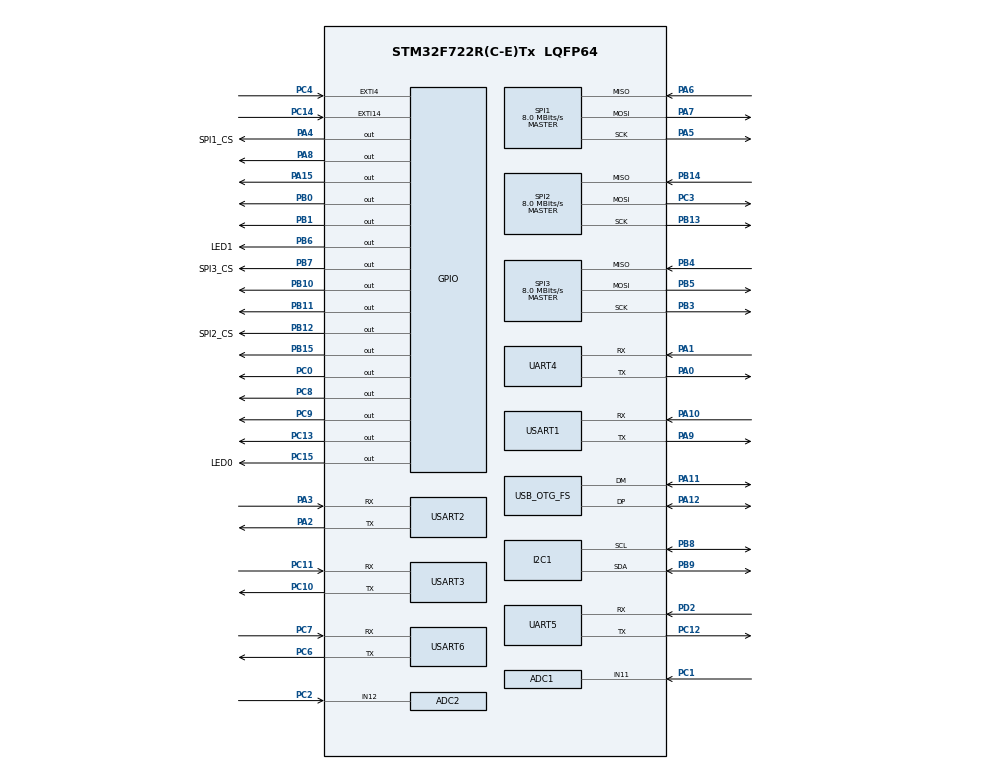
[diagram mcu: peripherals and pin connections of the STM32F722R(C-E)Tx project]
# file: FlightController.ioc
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ADC1.Channel-0\#ChannelRegularConversion=ADC_CHANNEL_11
ADC1.NbrOfConversionFlag=1
ADC1.master=1
ADC2.Channel-0\#ChannelRegularConversion=ADC_CHANNEL_12
ADC2.NbrOfConversionFlag=1
ADC2.Rank-0\#ChannelRegularConversion=1
ADC2.SamplingTime-0\#ChannelRegularConversion=ADC_SAMPLETIME_3CYCLES
Mcu.Family=STM32F7
Mcu.Name=STM32F722R(C-E)Tx
Mcu.Package=LQFP64
NVIC.OTG_FS_IRQn=true\:0\:0\:false\:false\:true\:false\:true\:true
NVIC.PriorityGroup=NVIC_PRIORITYGROUP_4
PA0-WKUP.Mode=Asynchronous
PA0-WKUP.Signal=UART4_TX
PA1.Mode=Asynchronous
PA1.Signal=UART4_RX
PA10.Mode=Asynchronous
PA10.Signal=USART1_RX
PA11.GPIO_Mode=GPIO_MODE_AF_PP
PA11.GPIO_PuPd=GPIO_NOPULL
PA11.GPIO_Speed=GPIO_SPEED_FREQ_VERY_HIGH
PA11.Mode=Device_Only
PA11.Signal=USB_OTG_FS_DM
PA12.GPIO_Mode=GPIO_MODE_AF_PP
PA12.GPIO_PuPd=GPIO_NOPULL
PA12.GPIO_Speed=GPIO_SPEED_FREQ_VERY_HIGH
PA12.Mode=Device_Only
PA12.Signal=USB_OTG_FS_DP
PA13.Mode=Serial_Wire
PA13.Signal=SYS_JTMS-SWDIO
PA14.Mode=Serial_Wire
PA14.Signal=SYS_JTCK-SWCLK
PA15.Signal=GPIO_Output
PA2.Mode=Asynchronous
PA2.Signal=USART2_TX
PA3.Mode=Asynchronous
PA3.Signal=USART2_RX
PA4.GPIO_Label=SPI1_CS
PA4.GPIO_PuPd=GPIO_PULLUP
PA4.PinState=GPIO_PIN_SET
PA4.Signal=GPIO_Output
PA5.Mode=Full_Duplex_Master
PA5.Signal=SPI1_SCK
PA6.Mode=Full_Duplex_Master
PA6.Signal=SPI1_MISO
PA7.Mode=Full_Duplex_Master
PA7.Signal=SPI1_MOSI
PA8.Signal=GPIO_Output
PA9.Mode=Asynchronous
PA9.Signal=USART1_TX
PB0.Signal=GPIO_Output
PB1.Signal=GPIO_Output
PB10.Signal=GPIO_Output
PB11.Signal=GPIO_Output
PB12.GPIO_Label=SPI2_CS
PB12.GPIO_PuPd=GPIO_PULLUP
PB12.PinState=GPIO_PIN_SET
PB12.Signal=GPIO_Output
PB13.Mode=Full_Duplex_Master
PB13.Signal=SPI2_SCK
PB14.Mode=Full_Duplex_Master
PB14.Signal=SPI2_MISO
PB15.Signal=GPIO_Output
PB3.Mode=Full_Duplex_Master
PB3.Signal=SPI3_SCK
PB4.Mode=Full_Duplex_Master
PB4.Signal=SPI3_MISO
PB5.Mode=Full_Duplex_Master
PB5.Signal=SPI3_MOSI
PB6.GPIO_Label=LED1
PB6.Signal=GPIO_Output
PB7.GPIO_Label=SPI3_CS
PB7.PinState=GPIO_PIN_SET
PB7.Signal=GPIO_Output
PB8.Mode=I2C
PB8.Signal=I2C1_SCL
PB9.Mode=I2C
PB9.Signal=I2C1_SDA
PC0.Signal=GPIO_Output
PC1.Signal=ADCx_IN11
PC10.Mode=Asynchronous
PC10.Signal=USART3_TX
PC11.Mode=Asynchronous
PC11.Signal=USART3_RX
PC12.Mode=Asynchronous
PC12.Signal=UART5_TX
PC13.Signal=GPIO_Output
PC14-OSC32_IN.Signal=GPXTI14
PC15-OSC32_OUT.GPIO_Label=LED0
PC15-OSC32_OUT.Signal=GPIO_Output
PC2.Signal=ADCx_IN12
PC3.Mode=Full_Duplex_Master
PC3.Signal=SPI2_MOSI
PC4.Signal=GPXTI4
PC6.Mode=Asynchronous
PC6.Signal=USART6_TX
PC7.Mode=Asynchronous
PC7.Signal=USART6_RX
PC8.Signal=GPIO_Output
PC9.Signal=GPIO_Output
PD2.Mode=Asynchronous
PD2.Signal=UART5_RX
PH0-OSC_IN.Mode=HSE-External-Oscillator
PH0-OSC_IN.Signal=RCC_OSC_IN
PH1-OSC_OUT.Mode=HSE-External-Oscillator
PH1-OSC_OUT.Signal=RCC_OSC_OUT
ProjectManager.HeapSize=0x200
ProjectManager.StackSize=0x400
ProjectManager.TargetToolchain=STM32CubeIDE
RCC.HSE_VALUE=8000000
RCC.HSI_VALUE=16000000
RCC.LSE_VALUE=32768
RCC.PLLM=4
RCC.PLLN=96
RCC.PLLQ=4
RCC.USBFreq_Value=48000000
RCC.VCOOutputFreq_Value=192000000
SH.ADCx_IN11.0=ADC1_IN11,IN11
SH.ADCx_IN12.0=ADC2_IN12,IN12
SPI1.BaudRatePrescaler=SPI_BAUDRATEPRESCALER_2
SPI1.CalculateBaudRate=8.0 MBits/s
SPI1.DataSize=SPI_DATASIZE_8BIT
SPI1.Direction=SPI_DIRECTION_2LINES
SPI1.Mode=SPI_MODE_MASTER
SPI1.NSSPMode=SPI_NSS_PULSE_DISABLE
SPI1.VirtualType=VM_MASTER
SPI2.BaudRatePrescaler=SPI_BAUDRATEPRESCALER_2
SPI2.CalculateBaudRate=8.0 MBits/s
SPI2.DataSize=SPI_DATASIZE_8BIT
SPI2.Direction=SPI_DIRECTION_2LINES
SPI2.Mode=SPI_MODE_MASTER
SPI2.NSSPMode=SPI_NSS_PULSE_DISABLE
SPI2.VirtualType=VM_MASTER
SPI3.BaudRatePrescaler=SPI_BAUDRATEPRESCALER_2
SPI3.CalculateBaudRate=8.0 MBits/s
SPI3.DataSize=SPI_DATASIZE_8BIT
SPI3.Direction=SPI_DIRECTION_2LINES
SPI3.Mode=SPI_MODE_MASTER
SPI3.NSSPMode=SPI_NSS_PULSE_DISABLE
SPI3.VirtualType=VM_MASTER
USART1.VirtualMode-Asynchronous=VM_ASYNC
USART2.VirtualMode-Asynchronous=VM_ASYNC
USART3.VirtualMode-Asynchronous=VM_ASYNC
USART6.VirtualMode=VM_ASYNC
USB_DEVICE.CLASS_NAME_FS=CDC
USB_DEVICE.VirtualMode-CDC_FS=Cdc
USB_DEVICE.VirtualModeFS=Cdc_FS
USB_OTG_FS.VirtualMode=Device_Only
VP_FATFS_VS_Generic.Mode=User_defined
VP_USB_DEVICE_VS_USB_DEVICE_CDC_FS.Mode=CDC_FS
board=custom

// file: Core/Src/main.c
/* USER CODE BEGIN Header */
/**
  ******************************************************************************
  * @file           : main.c
  * @brief          : Main program body
  ******************************************************************************
  * @attention
  *
  * Copyright (c) 2023 STMicroelectronics.
  * All rights reserved.
  *
  * This software is licensed under terms that can be found in the LICENSE file
  * in the root directory of this software component.
  * If no LICENSE file comes with this software, it is provided AS-IS.
  *
  ******************************************************************************
  */
/* USER CODE END Header */
#include "main.h"
#include "fatfs.h"
#include "usb_device.h"

/* USER CODE BEGIN Includes */
#include "usbd_cdc_if.h"

#include <stdarg.h>
/* USER CODE END Includes */

ADC_HandleTypeDef hadc1;
ADC_HandleTypeDef hadc2;

I2C_HandleTypeDef hi2c1;

SPI_HandleTypeDef hspi1;
SPI_HandleTypeDef hspi2;
SPI_HandleTypeDef hspi3;

UART_HandleTypeDef huart4;
UART_HandleTypeDef huart5;
UART_HandleTypeDef huart1;
UART_HandleTypeDef huart2;
UART_HandleTypeDef huart3;
UART_HandleTypeDef huart6;

void SystemClock_Config(void);
static void MX_GPIO_Init(void);
static void MX_ADC1_Init(void);
static void MX_ADC2_Init(void);
static void MX_I2C1_Init(void);
static void MX_SPI1_Init(void);
static void MX_USART2_UART_Init(void);
static void MX_USART3_UART_Init(void);
static void MX_USART6_UART_Init(void);
static void MX_SPI2_Init(void);
static void MX_UART4_Init(void);
static void MX_UART5_Init(void);
static void MX_USART1_UART_Init(void);
static void MX_SPI3_Init(void);

/* USER CODE BEGIN 0 */

#include "bmp280.h"

void delay_ms(uint32_t period_ms);
int8_t i2c_reg_write(uint8_t i2c_addr, uint8_t reg_addr, uint8_t *reg_data, uint16_t length);
int8_t i2c_reg_read(uint8_t i2c_addr, uint8_t reg_addr, uint8_t *reg_data, uint16_t length);
int8_t spi_reg_write(uint8_t cs, uint8_t reg_addr, uint8_t *reg_data, uint16_t length);
int8_t spi_reg_read(uint8_t cs, uint8_t reg_addr, uint8_t *reg_data, uint16_t length);
void print_rslt(const char api_name[], int8_t rslt);

//static uint8_t BMP280_ADDR  = (0xF6);
static uint8_t BMP280_ID_REG  = (0x80 | 0xD0);
static uint8_t BMI270_ID_REG  = (0x80 | 0x00);

static const uint8_t TMP102_ADDR = 0x48 << 1;
static const uint8_t REG_TEMP = 0x0;

char spi_buf[32];

void usb_printf(const char *fmt, ...)
{
  static char buffer[256];
  va_list args;
  va_start(args, fmt);
  vsnprintf(buffer, sizeof(buffer), fmt, args);
  va_end(args);

  int len = strlen(buffer);

  CDC_Transmit_FS((uint8_t *)buffer, len);
}

// BMP280 is SPI1 in the schematic, but CubeIDE has pin33 marked as SPI2
// nope wrong, everything is SPI1, but they use SPI1_CS and SPI2_CS to select between BMP280 and BMI270
void SPI1_bmp280_read_id_register()
{
	char data[4] = {0};

	data[0] = BMP280_ID_REG;
	data[1] = BMP280_ID_REG;

  // Read ID register

	// Set chip select low
	HAL_GPIO_WritePin(SPI2_CS_GPIO_Port, SPI2_CS_Pin, GPIO_PIN_RESET);
	HAL_Delay(1);
	HAL_SPI_Transmit(&hspi1, (uint8_t *)&data[0], 1, 100);
	HAL_SPI_Receive(&hspi1, (uint8_t *)&spi_buf[0], 1, 100);
	HAL_Delay(1);
	HAL_GPIO_WritePin(SPI2_CS_GPIO_Port, SPI2_CS_Pin, GPIO_PIN_SET);

	// print out status register, should be 0x58
	usb_printf("BMP280 ID Reg: 0x%02X 0x%02X 0x%02X 0x%02X\r\n",
		  (unsigned int)spi_buf[0],
		  (unsigned int)spi_buf[1],
		  (unsigned int)spi_buf[2],
		  (unsigned int)spi_buf[3]);
}

static BYTE my_xchg_spi (
	BYTE dat	/* Data to send */
)
{
	BYTE rxDat;
    HAL_SPI_TransmitReceive(&hspi1, &dat, &rxDat, 1, 50);
    return rxDat;
}

void SPI1_bmp280_read_id_register_xchg()
{
	HAL_GPIO_WritePin(SPI2_CS_GPIO_Port, SPI2_CS_Pin, GPIO_PIN_RESET);
	HAL_Delay(1);
	spi_buf[0] = my_xchg_spi(0x80 | 0xD0);				/* Start + command index */
	spi_buf[0] = my_xchg_spi(0x80 | 0xD0);				/* Start + command index */
	HAL_Delay(1);
	HAL_GPIO_WritePin(SPI2_CS_GPIO_Port, SPI2_CS_Pin, GPIO_PIN_SET);

	usb_printf("BMP280 xchg Reg: 0x%02X 0x%02X 0x%02X 0x%02X\r\n",
		  (unsigned int)spi_buf[0],
		  (unsigned int)spi_buf[1],
		  (unsigned int)spi_buf[2],
		  (unsigned int)spi_buf[3]);

}

void SPI1_bmi270_read_id_register_xchg()
{
	HAL_GPIO_WritePin(SPI1_CS_GPIO_Port, SPI1_CS_Pin, GPIO_PIN_RESET);
	HAL_Delay(1);
	spi_buf[0] = my_xchg_spi(0x80 | 0x0);				/* Start + command index */
	spi_buf[0] = my_xchg_spi(0x80 | 0x0);				/* Start + command index */
	HAL_Delay(1);
	HAL_GPIO_WritePin(SPI1_CS_GPIO_Port, SPI1_CS_Pin, GPIO_PIN_SET);

	usb_printf("BMI270 xchg Reg: 0x%02X 0x%02X 0x%02X 0x%02X\r\n",
		  (unsigned int)spi_buf[0],
		  (unsigned int)spi_buf[1],
		  (unsigned int)spi_buf[2],
		  (unsigned int)spi_buf[3]);

}

// Note: have to do this twice as the first time it just enables the interface from i2c to spi
void SPI1_bmi270_read_id_register()
{
	char data[4] = {0};

	data[0] = BMI270_ID_REG; // dummy value
	data[1] = BMI270_ID_REG; // actual used value

// Read ID register

	// Set chip select low
	HAL_GPIO_WritePin(SPI1_CS_GPIO_Port, SPI1_CS_Pin, GPIO_PIN_RESET);
	HAL_Delay(1);
	HAL_SPI_Transmit(&hspi1, (uint8_t *)&data[0], 1, 100);
	HAL_SPI_Receive(&hspi1, (uint8_t *)&spi_buf[0], 1, 100);

//	HAL_StatusTypeDef ret = HAL_SPI_TransmitReceive(&hspi1, (uint8_t *)&data[0], (uint8_t *)&spi_buf[0], 2, 100);
//	if (ret != HAL_OK)
//	{
//		usb_printf("HAL_SPI_TransmitReceive failed %d\n", ret);
//	}
	HAL_Delay(1);
	HAL_GPIO_WritePin(SPI1_CS_GPIO_Port, SPI1_CS_Pin, GPIO_PIN_SET);
//	HAL_GPIO_WritePin(SPI2_CS_GPIO_Port, SPI2_CS_Pin, GPIO_PIN_SET);

	// print out status register, should be 0x24
	usb_printf("BMI270 ID Reg: 0x%02X 0x%02X 0x%02X 0x%02X\r\n",
		  (unsigned int)spi_buf[0],
		  (unsigned int)spi_buf[1],
		  (unsigned int)spi_buf[2],
		  (unsigned int)spi_buf[3]);
}

void SPI3_sdcard_read_id_register()
{
	char data[4] = {0};

	data[0] = BMI270_ID_REG; // dummy value
	data[1] = BMI270_ID_REG; // actual register

// Read ID register

	// Set chip select low
	HAL_GPIO_WritePin(SPI3_CS_GPIO_Port, SPI3_CS_Pin, GPIO_PIN_RESET);
	HAL_SPI_Transmit(&hspi3, (uint8_t *)&data[0], 2, HAL_MAX_DELAY);
	HAL_SPI_Receive(&hspi3, (uint8_t *)&spi_buf[0], 4, HAL_MAX_DELAY);
	HAL_GPIO_WritePin(SPI3_CS_GPIO_Port, SPI3_CS_Pin, GPIO_PIN_SET);

	// print out status register, should be 0x24
	usb_printf("SDCARD ID Reg: 0x%02X 0x%02X 0x%02X 0x%02X\r\n",
		  (unsigned int)spi_buf[0],
		  (unsigned int)spi_buf[1],
		  (unsigned int)spi_buf[2],
		  (unsigned int)spi_buf[3]);

}

// this is uses SPI1, but uses the MAX_Chip select, which is shared with SPI bus 2
void SPI2_max_analog_read_id_register()
{
//	char data[4] = {0};

//	data[0] = BMI270_ID_REG; // dummy
//	data[1] = BMI270_ID_REG; // actual register read

// Read ID register

	// Set chip select low
	// need to solder this chip on really
	/*
	HAL_GPIO_WritePin(SPI1_CS_GPIO_Port, SPI1_CS_Pin, GPIO_PIN_RESET);
	HAL_GPIO_WritePin(SPI2_CS_GPIO_Port, SPI2_CS_Pin, GPIO_PIN_RESET);
	HAL_SPI_Transmit(&hspi1, (uint8_t *)&data[0], 1, HAL_MAX_DELAY);
	HAL_SPI_Receive(&hspi1, (uint8_t *)&spi_buf[0], 4, HAL_MAX_DELAY);
	HAL_GPIO_WritePin(SPI1_CS_GPIO_Port, SPI1_CS_Pin, GPIO_PIN_SET);
	HAL_GPIO_WritePin(SPI2_CS_GPIO_Port, SPI2_CS_Pin, GPIO_PIN_SET);

	// print out status register, should be 0x24
	usb_printf("MAX Analog ID Reg: 0x%02X 0x%02X 0x%02X 0x%02X\r\n",
		  (unsigned int)spi_buf[0],
		  (unsigned int)spi_buf[1],
		  (unsigned int)spi_buf[2],
		  (unsigned int)spi_buf[3]);
		  */
}

int test_bmp280(void)
{
    int8_t rslt;
    struct bmp280_dev bmp;

    /* Map the delay function pointer with the function responsible for implementing the delay */
    bmp.delay_ms = delay_ms;

    bmp.dev_id = 0;
    bmp.read = spi_reg_read;
    bmp.write = spi_reg_write;
    bmp.intf = BMP280_SPI_INTF;
    rslt = bmp280_init(&bmp);
    print_rslt(" bmp280_init status", rslt);

    struct bmp280_uncomp_data data;

    bmp280_get_uncomp_data(&data, &bmp);

	usb_printf("BMP280 API : %u temp %u pressureX\r\n",
		  (unsigned int)data.uncomp_temp,
		  (unsigned int)data.uncomp_press);
    return 0;
}

void delay_ms(uint32_t period_ms)
{
	HAL_Delay(period_ms);
}

int8_t spi_reg_write(uint8_t cs, uint8_t reg_addr, uint8_t *reg_data, uint16_t length)
{
	HAL_GPIO_WritePin(SPI2_CS_GPIO_Port, SPI2_CS_Pin, GPIO_PIN_RESET);
	HAL_Delay(1);
	HAL_SPI_Transmit(&hspi1, (uint8_t *)&reg_addr, 1, 100);
	HAL_SPI_Transmit(&hspi1, (uint8_t *)reg_data, length, 100);
	HAL_Delay(1);
	HAL_GPIO_WritePin(SPI2_CS_GPIO_Port, SPI2_CS_Pin, GPIO_PIN_SET);

    return 0;
}

int8_t spi_reg_read(uint8_t cs, uint8_t reg_addr, uint8_t *reg_data, uint16_t length)
{
	HAL_GPIO_WritePin(SPI2_CS_GPIO_Port, SPI2_CS_Pin, GPIO_PIN_RESET);
	HAL_Delay(1);
	HAL_SPI_Transmit(&hspi1, (uint8_t *)&reg_addr, 1, 100);
	HAL_SPI_Receive(&hspi1, (uint8_t *)reg_data, length, 100);
	HAL_Delay(1);
	HAL_GPIO_WritePin(SPI2_CS_GPIO_Port, SPI2_CS_Pin, GPIO_PIN_SET);
    return 0;
}

void print_rslt(const char api_name[], int8_t rslt)
{
    if (rslt != BMP280_OK)
    {
    	usb_printf("%s\t", api_name);
        if (rslt == BMP280_E_NULL_PTR)
        {
        	usb_printf("Error [%d] : Null pointer error\r\n", (int)rslt);
        }
        else if (rslt == BMP280_E_COMM_FAIL)
        {
        	usb_printf("Error [%d] : Bus communication failed\r\n", (int)rslt);
        }
        else if (rslt == BMP280_E_IMPLAUS_TEMP)
        {
        	usb_printf("Error [%d] : Invalid Temperature\r\n", (int)rslt);
        }
        else if (rslt == BMP280_E_DEV_NOT_FOUND)
        {
        	usb_printf("Error [%d] : Device not found\r\n", (int)rslt);
        }
        else
        {
            /* For more error codes refer "*_defs.h" */
        	usb_printf("Error [%d] : Unknown error code\r\n", (int)rslt);
        }
    }
}

void read_tmp102()
{
	HAL_StatusTypeDef ret;
	char buf[32];
	int16_t val;
	float temp_c;

	strcpy(buf, "Hello!\r\n");
	HAL_UART_Transmit(&huart2, (uint8_t *)buf, strlen(buf), HAL_MAX_DELAY);

	buf[0] = REG_TEMP;
	ret = HAL_I2C_Master_Transmit(&hi2c1, TMP102_ADDR, (uint8_t *)buf, 1, HAL_MAX_DELAY);
	if ( ret != HAL_OK)
	{
		strcpy(buf, "i2c tx error\r\n");
	}
	else
	{
		ret = HAL_I2C_Master_Receive(&hi2c1, TMP102_ADDR, (uint8_t *)buf, 2, HAL_MAX_DELAY);
		if ( ret != HAL_OK)
		{
			strcpy(buf, "i2c rx error\r\n");
		}

		val = ( (int16_t)buf[0] << 4 | (buf[1] >> 4) );
		if (val > 0x7FF )
		{
			val |= 0xF000;
		}

		temp_c = val * 0.0625;
		temp_c *= 100;

		sprintf(buf, "%u.%02u C\r\n",
			((unsigned int)temp_c / 100),
			((unsigned int)temp_c % 100));
	}

	HAL_UART_Transmit(&huart2, (uint8_t *)buf, strlen(buf), HAL_MAX_DELAY);
}

// https://01001000.xyz/2020-08-09-Tutorial-STM32CubeIDE-SD-card/
void test_sdcard()
{
	  HAL_Delay(1000); //a short delay is important to let the SD card settle

	  FATFS FatFs; 	//Fatfs handle
	  FIL fil; 		//File handle
	  FRESULT fres; //Result after operations

	  //Open the file system
	  fres = f_mount(&FatFs, "", 1); //1=mount now

	  if (fres != FR_OK)
	  {
		  usb_printf("f_mount error (%i)\r\n", fres);
		  return;
	  }

	  //Let's get some statistics from the SD card
	  DWORD free_clusters, free_sectors, total_sectors;

	  FATFS* getFreeFs;

	  fres = f_getfree("", &free_clusters, &getFreeFs);
	  if (fres != FR_OK)
	  {
		  usb_printf("f_getfree error (%i)\r\n", fres);
		  return;
	  }

	  //Formula comes from ChaN's documentation
	  total_sectors = (getFreeFs->n_fatent - 2) * getFreeFs->csize;
	  free_sectors = free_clusters * getFreeFs->csize;

	  usb_printf("SD card stats:\r\n%10lu KiB total drive space.\r\n%10lu KiB available.\r\n", total_sectors / 2, free_sectors / 2);

	  //Now let's try to open file "test.txt"
	  fres = f_open(&fil, "test.txt", FA_READ);

	  if (fres != FR_OK)
	  {
		usb_printf("f_open error (%i)\r\n");
		return;
	  }

	  usb_printf("I was able to open 'test.txt' for reading!\r\n");

	  //Read 30 bytes from "test.txt" on the SD card
	  BYTE readBuf[30] = {0};

	  //We can either use f_read OR f_gets to get data out of files
	  //f_gets is a wrapper on f_read that does some string formatting for us
	  TCHAR* rres = f_gets((TCHAR*)readBuf, 30, &fil);

	  if(rres != 0)
	  {
		  usb_printf("Read string from 'test.txt' contents: %s\r\n", readBuf);
	  }
	  else
	  {
		  usb_printf("f_gets error (%i)\r\n", fres);
	  }

	  //Be a tidy kiwi - don't forget to close your file!
	  f_close(&fil);

	  //Now let's try and write a file "write.txt"
	  fres = f_open(&fil, "write.txt", FA_WRITE | FA_OPEN_ALWAYS | FA_CREATE_ALWAYS);

	  if(fres == FR_OK)
	  {
		  usb_printf("I was able to open 'write.txt' for writing\r\n");
	  }
	  else
	  {
		  usb_printf("f_open error (%i)\r\n", fres);
	  }

	  //Copy in a string
	  strncpy((char*)readBuf, "a new file is made!", 20);
	  UINT bytesWrote;
	  fres = f_write(&fil, readBuf, 19, &bytesWrote);

	  if(fres == FR_OK)
	  {
		  usb_printf("Wrote %i bytes to 'write.txt'!\r\n", bytesWrote);
	  }
	  else
	  {
		  usb_printf("f_write error (%i)\r\n");
	  }

	  //Be a tidy kiwi - don't forget to close your file!
	  f_close(&fil);

	  //We're done, so de-mount the drive
	  f_mount(NULL, "", 0);
}

int test_enable = 0;

#define	MCU_IRQS	70u

void start_bootloader()
{
	void (*boot_jump)(void);

	boot_jump = (void (*)(void))(*((uint32_t *)(0x1FFF0000 + 4)));

	HAL_RCC_DeInit();
	SysTick->CTRL = 0;
	SysTick->LOAD = 0;
	SysTick->VAL = 0;
	__disable_irq();
	SYSCFG->MEMRMP = 0x01;

	__set_MSP(*(uint32_t *)0x1FFF0000);

	boot_jump();

/*

	void (*boot_jump)(void);

	boot_jump = (void (*)(void))(*((uint32_t *)(0x1FFF0000 + 4)));

	HAL_DeInit();
	__set_MSP(*(__IO uint32_t*)0x1FFF0000);

	__disable_irq();

	SysTick->CTRL = 0;

	HAL_RCC_DeInit();
	for (uint8_t i = 0; i < (MCU_IRQS + 31u) / 32; i++)
	{
		NVIC->ICER[i]=0xFFFFFFFF;
		NVIC->ICPR[i]=0xFFFFFFFF;
	}

	__enable_irq();

	*((unsigned long *)0x2004FFF0) = 0xDEADBEEF; // 320KB STM32F7xx
	__DSB();

	boot_jump();
	*/
}

/* USER CODE END 0 */

int main(void)
{

  /* MCU Configuration--------------------------------------------------------*/

  /* Reset of all peripherals, Initializes the Flash interface and the Systick. */
  HAL_Init();

  /* Configure the system clock */
  SystemClock_Config();

  /* Initialize all configured peripherals */
  MX_GPIO_Init();
  MX_USB_DEVICE_Init();
  MX_ADC1_Init();
  MX_ADC2_Init();
  MX_I2C1_Init();
  MX_SPI1_Init();
  MX_USART2_UART_Init();
  MX_USART3_UART_Init();
  MX_USART6_UART_Init();
  MX_SPI2_Init();
  MX_UART4_Init();
  MX_UART5_Init();
  MX_USART1_UART_Init();
  MX_SPI3_Init();
  MX_FATFS_Init();
  /* USER CODE BEGIN 2 */

  __enable_irq();

  HAL_GPIO_TogglePin (LED1_GPIO_Port, LED1_Pin);

  // CS pin should be default high
	HAL_GPIO_WritePin(SPI1_CS_GPIO_Port, SPI1_CS_Pin, GPIO_PIN_SET);
	HAL_GPIO_WritePin(SPI2_CS_GPIO_Port, SPI2_CS_Pin, GPIO_PIN_SET);
	HAL_GPIO_WritePin(SPI3_CS_GPIO_Port, SPI3_CS_Pin, GPIO_PIN_SET);

  // Print something (probably will be too fast to connect and see?)
  usb_printf("STM32F7 main()\r\n");

//  SPI1_bmi270_read_id_register();

  test_bmp280();

  SPI1_bmp280_read_id_register();

  SPI1_bmi270_read_id_register();

  /* USER CODE END 2 */

  /* Infinite loop */
  /* USER CODE BEGIN WHILE */
  while (1)
  {
  	  if (test_enable)
	  {

		  if (test_enable == '`')
		  {
			  start_bootloader();
		  }

		  if (test_enable == '1')
		  {
			  test_sdcard();
		  }

		  if (test_enable == '2')
		  {
			  SPI1_bmp280_read_id_register();
		  }

		  if (test_enable == '3')
		  {
			  SPI1_bmi270_read_id_register();
		  }

		  if (test_enable == '4')
		  {
			  SPI1_bmi270_read_id_register_xchg();
		  }

		  if (test_enable == '5')
		  {
			  test_bmp280();
		  }

		  if (test_enable == '6')
		  {
			  SPI1_bmp280_read_id_register_xchg();
		  }

		  if (test_enable == '7')
		  {
			  static int init = 0;

			  if (init == 0)
			  {

//				  TMP117_Initialization(hi2c1);

				  uint16_t id = -1;

//				  id = TMP117_get_ID_Register(hi2c1);

			      static uint8_t sbuf[3] = { 0 };
			      static uint8_t rbuf[3] = { 0 };
			      sbuf[0] = 0x0F;

			      uint16_t addr = 0x48<<1;

			      HAL_I2C_Master_Transmit(&hi2c1, addr, sbuf, 1, HAL_MAX_DELAY);
			      HAL_Delay(1);
			      HAL_I2C_Master_Receive(&hi2c1, addr, rbuf, 2, HAL_MAX_DELAY);
			      id = ((rbuf[0]<<8)|rbuf[1]);

				  if (id == 0x0117)
				  {
					  usb_printf("tmp117 init pass\r\n");
					  init = 1;

				  }
				  else
				  {
					  usb_printf("tmp117 init fail returned %X [%X, %X]\r\n", (int)id, rbuf[0], rbuf[1]);
				  }

			  }

		      static uint8_t sbuf[3] = {0};
		      static uint8_t rbuf[3] = {0};
		      uint16_t addr = 0x48<<1;

		      sbuf[0] = 0x0;

		      HAL_I2C_Master_Transmit(&hi2c1, addr, sbuf, 1, HAL_MAX_DELAY);
		      HAL_Delay(1);
		      HAL_I2C_Master_Receive(&hi2c1, addr, rbuf, 2, HAL_MAX_DELAY);

		      float temp =  ( (rbuf[0] << 8) | rbuf[1] ) * 0.0078125;

		      int top = temp;

		      usb_printf("Tmp117 Temp %d [%X, %X]\r\n", top, rbuf[0], rbuf[1]);

		  }

		  test_enable = 0;
	  }

	  // blink leds
	  HAL_GPIO_TogglePin (LED0_GPIO_Port, LED0_Pin);
	  HAL_Delay (100);   /* Insert delay 100 ms */
	  HAL_GPIO_TogglePin (LED1_GPIO_Port, LED1_Pin);
	  HAL_Delay (100);   /* Insert delay 100 ms */

    /* USER CODE END WHILE */

  }
}

void SystemClock_Config(void)
{
  RCC_OscInitTypeDef RCC_OscInitStruct = {0};
  RCC_ClkInitTypeDef RCC_ClkInitStruct = {0};

  /** Configure the main internal regulator output voltage
  */
  __HAL_RCC_PWR_CLK_ENABLE();
  __HAL_PWR_VOLTAGESCALING_CONFIG(PWR_REGULATOR_VOLTAGE_SCALE3);

  /** Initializes the RCC Oscillators according to the specified parameters
  * in the RCC_OscInitTypeDef structure.
  */
  RCC_OscInitStruct.OscillatorType = RCC_OSCILLATORTYPE_HSI|RCC_OSCILLATORTYPE_HSE;
  RCC_OscInitStruct.HSEState = RCC_HSE_ON;
  RCC_OscInitStruct.HSIState = RCC_HSI_ON;
  RCC_OscInitStruct.HSICalibrationValue = RCC_HSICALIBRATION_DEFAULT;
  RCC_OscInitStruct.PLL.PLLState = RCC_PLL_ON;
  RCC_OscInitStruct.PLL.PLLSource = RCC_PLLSOURCE_HSE;
  RCC_OscInitStruct.PLL.PLLM = 4;
  RCC_OscInitStruct.PLL.PLLN = 96;
  RCC_OscInitStruct.PLL.PLLP = RCC_PLLP_DIV2;
  RCC_OscInitStruct.PLL.PLLQ = 4;
  if (HAL_RCC_OscConfig(&RCC_OscInitStruct) != HAL_OK)
  {
    Error_Handler();
  }

  /** Initializes the CPU, AHB and APB buses clocks
  */
  RCC_ClkInitStruct.ClockType = RCC_CLOCKTYPE_HCLK|RCC_CLOCKTYPE_SYSCLK
                              |RCC_CLOCKTYPE_PCLK1|RCC_CLOCKTYPE_PCLK2;
  RCC_ClkInitStruct.SYSCLKSource = RCC_SYSCLKSOURCE_HSI;
  RCC_ClkInitStruct.AHBCLKDivider = RCC_SYSCLK_DIV1;
  RCC_ClkInitStruct.APB1CLKDivider = RCC_HCLK_DIV1;
  RCC_ClkInitStruct.APB2CLKDivider = RCC_HCLK_DIV1;

  if (HAL_RCC_ClockConfig(&RCC_ClkInitStruct, FLASH_LATENCY_0) != HAL_OK)
  {
    Error_Handler();
  }
}

static void MX_ADC1_Init(void)
{

  ADC_ChannelConfTypeDef sConfig = {0};

  /** Configure the global features of the ADC (Clock, Resolution, Data Alignment and number of conversion)
  */
  hadc1.Instance = ADC1;
  hadc1.Init.ClockPrescaler = ADC_CLOCK_SYNC_PCLK_DIV2;
  hadc1.Init.Resolution = ADC_RESOLUTION_12B;
  hadc1.Init.ScanConvMode = ADC_SCAN_DISABLE;
  hadc1.Init.ContinuousConvMode = DISABLE;
  hadc1.Init.DiscontinuousConvMode = DISABLE;
  hadc1.Init.ExternalTrigConvEdge = ADC_EXTERNALTRIGCONVEDGE_NONE;
  hadc1.Init.ExternalTrigConv = ADC_SOFTWARE_START;
  hadc1.Init.DataAlign = ADC_DATAALIGN_RIGHT;
  hadc1.Init.NbrOfConversion = 1;
  hadc1.Init.DMAContinuousRequests = DISABLE;
  hadc1.Init.EOCSelection = ADC_EOC_SINGLE_CONV;
  if (HAL_ADC_Init(&hadc1) != HAL_OK)
  {
    Error_Handler();
  }

  /** Configure for the selected ADC regular channel its corresponding rank in the sequencer and its sample time.
  */
  sConfig.Channel = ADC_CHANNEL_11;
  sConfig.Rank = ADC_REGULAR_RANK_1;
  sConfig.SamplingTime = ADC_SAMPLETIME_3CYCLES;
  if (HAL_ADC_ConfigChannel(&hadc1, &sConfig) != HAL_OK)
  {
    Error_Handler();
  }

}

static void MX_ADC2_Init(void)
{

  ADC_ChannelConfTypeDef sConfig = {0};

  /** Configure the global features of the ADC (Clock, Resolution, Data Alignment and number of conversion)
  */
  hadc2.Instance = ADC2;
  hadc2.Init.ClockPrescaler = ADC_CLOCK_SYNC_PCLK_DIV2;
  hadc2.Init.Resolution = ADC_RESOLUTION_12B;
  hadc2.Init.ScanConvMode = ADC_SCAN_DISABLE;
  hadc2.Init.ContinuousConvMode = DISABLE;
  hadc2.Init.DiscontinuousConvMode = DISABLE;
  hadc2.Init.ExternalTrigConvEdge = ADC_EXTERNALTRIGCONVEDGE_NONE;
  hadc2.Init.ExternalTrigConv = ADC_SOFTWARE_START;
  hadc2.Init.DataAlign = ADC_DATAALIGN_RIGHT;
  hadc2.Init.NbrOfConversion = 1;
  hadc2.Init.DMAContinuousRequests = DISABLE;
  hadc2.Init.EOCSelection = ADC_EOC_SINGLE_CONV;
  if (HAL_ADC_Init(&hadc2) != HAL_OK)
  {
    Error_Handler();
  }

  /** Configure for the selected ADC regular channel its corresponding rank in the sequencer and its sample time.
  */
  sConfig.Channel = ADC_CHANNEL_12;
  sConfig.Rank = ADC_REGULAR_RANK_1;
  sConfig.SamplingTime = ADC_SAMPLETIME_3CYCLES;
  if (HAL_ADC_ConfigChannel(&hadc2, &sConfig) != HAL_OK)
  {
    Error_Handler();
  }

}

static void MX_I2C1_Init(void)
{

  hi2c1.Instance = I2C1;
  hi2c1.Init.Timing = 0x00303D5B;
  hi2c1.Init.OwnAddress1 = 0;
  hi2c1.Init.AddressingMode = I2C_ADDRESSINGMODE_7BIT;
  hi2c1.Init.DualAddressMode = I2C_DUALADDRESS_DISABLE;
  hi2c1.Init.OwnAddress2 = 0;
  hi2c1.Init.OwnAddress2Masks = I2C_OA2_NOMASK;
  hi2c1.Init.GeneralCallMode = I2C_GENERALCALL_DISABLE;
  hi2c1.Init.NoStretchMode = I2C_NOSTRETCH_DISABLE;
  if (HAL_I2C_Init(&hi2c1) != HAL_OK)
  {
    Error_Handler();
  }

  /** Configure Analogue filter
  */
  if (HAL_I2CEx_ConfigAnalogFilter(&hi2c1, I2C_ANALOGFILTER_ENABLE) != HAL_OK)
  {
    Error_Handler();
  }

  /** Configure Digital filter
  */
  if (HAL_I2CEx_ConfigDigitalFilter(&hi2c1, 0) != HAL_OK)
  {
    Error_Handler();
  }

}

static void MX_SPI1_Init(void)
{

  /* SPI1 parameter configuration*/
  hspi1.Instance = SPI1;
  hspi1.Init.Mode = SPI_MODE_MASTER;
  hspi1.Init.Direction = SPI_DIRECTION_2LINES;
  hspi1.Init.DataSize = SPI_DATASIZE_8BIT;
  hspi1.Init.CLKPolarity = SPI_POLARITY_LOW;
  hspi1.Init.CLKPhase = SPI_PHASE_1EDGE;
  hspi1.Init.NSS = SPI_NSS_SOFT;
  hspi1.Init.BaudRatePrescaler = SPI_BAUDRATEPRESCALER_2;
  hspi1.Init.FirstBit = SPI_FIRSTBIT_MSB;
  hspi1.Init.TIMode = SPI_TIMODE_DISABLE;
  hspi1.Init.CRCCalculation = SPI_CRCCALCULATION_DISABLE;
  hspi1.Init.CRCPolynomial = 7;
  hspi1.Init.CRCLength = SPI_CRC_LENGTH_DATASIZE;
  hspi1.Init.NSSPMode = SPI_NSS_PULSE_DISABLE;
  if (HAL_SPI_Init(&hspi1) != HAL_OK)
  {
    Error_Handler();
  }

}

static void MX_SPI2_Init(void)
{

  /* SPI2 parameter configuration*/
  hspi2.Instance = SPI2;
  hspi2.Init.Mode = SPI_MODE_MASTER;
  hspi2.Init.Direction = SPI_DIRECTION_2LINES;
  hspi2.Init.DataSize = SPI_DATASIZE_8BIT;
  hspi2.Init.CLKPolarity = SPI_POLARITY_LOW;
  hspi2.Init.CLKPhase = SPI_PHASE_1EDGE;
  hspi2.Init.NSS = SPI_NSS_SOFT;
  hspi2.Init.BaudRatePrescaler = SPI_BAUDRATEPRESCALER_2;
  hspi2.Init.FirstBit = SPI_FIRSTBIT_MSB;
  hspi2.Init.TIMode = SPI_TIMODE_DISABLE;
  hspi2.Init.CRCCalculation = SPI_CRCCALCULATION_DISABLE;
  hspi2.Init.CRCPolynomial = 7;
  hspi2.Init.CRCLength = SPI_CRC_LENGTH_DATASIZE;
  hspi2.Init.NSSPMode = SPI_NSS_PULSE_DISABLE;
  if (HAL_SPI_Init(&hspi2) != HAL_OK)
  {
    Error_Handler();
  }

}

static void MX_SPI3_Init(void)
{

  /* SPI3 parameter configuration*/
  hspi3.Instance = SPI3;
  hspi3.Init.Mode = SPI_MODE_MASTER;
  hspi3.Init.Direction = SPI_DIRECTION_2LINES;
  hspi3.Init.DataSize = SPI_DATASIZE_8BIT;
  hspi3.Init.CLKPolarity = SPI_POLARITY_LOW;
  hspi3.Init.CLKPhase = SPI_PHASE_1EDGE;
  hspi3.Init.NSS = SPI_NSS_SOFT;
  hspi3.Init.BaudRatePrescaler = SPI_BAUDRATEPRESCALER_2;
  hspi3.Init.FirstBit = SPI_FIRSTBIT_MSB;
  hspi3.Init.TIMode = SPI_TIMODE_DISABLE;
  hspi3.Init.CRCCalculation = SPI_CRCCALCULATION_DISABLE;
  hspi3.Init.CRCPolynomial = 7;
  hspi3.Init.CRCLength = SPI_CRC_LENGTH_DATASIZE;
  hspi3.Init.NSSPMode = SPI_NSS_PULSE_DISABLE;
  if (HAL_SPI_Init(&hspi3) != HAL_OK)
  {
    Error_Handler();
  }

}

static void MX_UART4_Init(void)
{

  huart4.Instance = UART4;
  huart4.Init.BaudRate = 115200;
  huart4.Init.WordLength = UART_WORDLENGTH_8B;
  huart4.Init.StopBits = UART_STOPBITS_1;
  huart4.Init.Parity = UART_PARITY_NONE;
  huart4.Init.Mode = UART_MODE_TX_RX;
  huart4.Init.HwFlowCtl = UART_HWCONTROL_NONE;
  huart4.Init.OverSampling = UART_OVERSAMPLING_16;
  huart4.Init.OneBitSampling = UART_ONE_BIT_SAMPLE_DISABLE;
  huart4.AdvancedInit.AdvFeatureInit = UART_ADVFEATURE_NO_INIT;
  if (HAL_UART_Init(&huart4) != HAL_OK)
  {
    Error_Handler();
  }

}

static void MX_UART5_Init(void)
{

  huart5.Instance = UART5;
  huart5.Init.BaudRate = 115200;
  huart5.Init.WordLength = UART_WORDLENGTH_8B;
  huart5.Init.StopBits = UART_STOPBITS_1;
  huart5.Init.Parity = UART_PARITY_NONE;
  huart5.Init.Mode = UART_MODE_TX_RX;
  huart5.Init.HwFlowCtl = UART_HWCONTROL_NONE;
  huart5.Init.OverSampling = UART_OVERSAMPLING_16;
  huart5.Init.OneBitSampling = UART_ONE_BIT_SAMPLE_DISABLE;
  huart5.AdvancedInit.AdvFeatureInit = UART_ADVFEATURE_NO_INIT;
  if (HAL_UART_Init(&huart5) != HAL_OK)
  {
    Error_Handler();
  }

}

static void MX_USART1_UART_Init(void)
{

  huart1.Instance = USART1;
  huart1.Init.BaudRate = 115200;
  huart1.Init.WordLength = UART_WORDLENGTH_8B;
  huart1.Init.StopBits = UART_STOPBITS_1;
  huart1.Init.Parity = UART_PARITY_NONE;
  huart1.Init.Mode = UART_MODE_TX_RX;
  huart1.Init.HwFlowCtl = UART_HWCONTROL_NONE;
  huart1.Init.OverSampling = UART_OVERSAMPLING_16;
  huart1.Init.OneBitSampling = UART_ONE_BIT_SAMPLE_DISABLE;
  huart1.AdvancedInit.AdvFeatureInit = UART_ADVFEATURE_NO_INIT;
  if (HAL_UART_Init(&huart1) != HAL_OK)
  {
    Error_Handler();
  }

}

static void MX_USART2_UART_Init(void)
{

  huart2.Instance = USART2;
  huart2.Init.BaudRate = 115200;
  huart2.Init.WordLength = UART_WORDLENGTH_8B;
  huart2.Init.StopBits = UART_STOPBITS_1;
  huart2.Init.Parity = UART_PARITY_NONE;
  huart2.Init.Mode = UART_MODE_TX_RX;
  huart2.Init.HwFlowCtl = UART_HWCONTROL_NONE;
  huart2.Init.OverSampling = UART_OVERSAMPLING_16;
  huart2.Init.OneBitSampling = UART_ONE_BIT_SAMPLE_DISABLE;
  huart2.AdvancedInit.AdvFeatureInit = UART_ADVFEATURE_NO_INIT;
  if (HAL_UART_Init(&huart2) != HAL_OK)
  {
    Error_Handler();
  }

}

static void MX_USART3_UART_Init(void)
{

  huart3.Instance = USART3;
  huart3.Init.BaudRate = 115200;
  huart3.Init.WordLength = UART_WORDLENGTH_8B;
  huart3.Init.StopBits = UART_STOPBITS_1;
  huart3.Init.Parity = UART_PARITY_NONE;
  huart3.Init.Mode = UART_MODE_TX_RX;
  huart3.Init.HwFlowCtl = UART_HWCONTROL_NONE;
  huart3.Init.OverSampling = UART_OVERSAMPLING_16;
  huart3.Init.OneBitSampling = UART_ONE_BIT_SAMPLE_DISABLE;
  huart3.AdvancedInit.AdvFeatureInit = UART_ADVFEATURE_NO_INIT;
  if (HAL_UART_Init(&huart3) != HAL_OK)
  {
    Error_Handler();
  }

}

static void MX_USART6_UART_Init(void)
{

  huart6.Instance = USART6;
  huart6.Init.BaudRate = 115200;
  huart6.Init.WordLength = UART_WORDLENGTH_8B;
  huart6.Init.StopBits = UART_STOPBITS_1;
  huart6.Init.Parity = UART_PARITY_NONE;
  huart6.Init.Mode = UART_MODE_TX_RX;
  huart6.Init.HwFlowCtl = UART_HWCONTROL_NONE;
  huart6.Init.OverSampling = UART_OVERSAMPLING_16;
  huart6.Init.OneBitSampling = UART_ONE_BIT_SAMPLE_DISABLE;
  huart6.AdvancedInit.AdvFeatureInit = UART_ADVFEATURE_NO_INIT;
  if (HAL_UART_Init(&huart6) != HAL_OK)
  {
    Error_Handler();
  }

}

static void MX_GPIO_Init(void)
{
  GPIO_InitTypeDef GPIO_InitStruct = {0};

  /* GPIO Ports Clock Enable */
  __HAL_RCC_GPIOC_CLK_ENABLE();
  __HAL_RCC_GPIOH_CLK_ENABLE();
  __HAL_RCC_GPIOA_CLK_ENABLE();
  __HAL_RCC_GPIOB_CLK_ENABLE();
  __HAL_RCC_GPIOD_CLK_ENABLE();

  /*Configure GPIO pin Output Level */
  HAL_GPIO_WritePin(GPIOC, GPIO_PIN_13|LED0_Pin|GPIO_PIN_0|GPIO_PIN_8
                          |GPIO_PIN_9, GPIO_PIN_RESET);

  /*Configure GPIO pin Output Level */
  HAL_GPIO_WritePin(SPI1_CS_GPIO_Port, SPI1_CS_Pin, GPIO_PIN_SET);

  /*Configure GPIO pin Output Level */
  HAL_GPIO_WritePin(GPIOB, GPIO_PIN_0|GPIO_PIN_1|GPIO_PIN_10|GPIO_PIN_11
                          |GPIO_PIN_15|LED1_Pin, GPIO_PIN_RESET);

  /*Configure GPIO pin Output Level */
  HAL_GPIO_WritePin(GPIOB, SPI2_CS_Pin|SPI3_CS_Pin, GPIO_PIN_SET);

  /*Configure GPIO pin Output Level */
  HAL_GPIO_WritePin(GPIOA, GPIO_PIN_8|GPIO_PIN_15, GPIO_PIN_RESET);

  /*Configure GPIO pins : PC13 LED0_Pin PC0 PC8
                           PC9 */
  GPIO_InitStruct.Pin = GPIO_PIN_13|LED0_Pin|GPIO_PIN_0|GPIO_PIN_8
                          |GPIO_PIN_9;
  GPIO_InitStruct.Mode = GPIO_MODE_OUTPUT_PP;
  GPIO_InitStruct.Pull = GPIO_NOPULL;
  GPIO_InitStruct.Speed = GPIO_SPEED_FREQ_LOW;
  HAL_GPIO_Init(GPIOC, &GPIO_InitStruct);

  /*Configure GPIO pins : PC14 PC4 */
  GPIO_InitStruct.Pin = GPIO_PIN_14|GPIO_PIN_4;
  GPIO_InitStruct.Mode = GPIO_MODE_IT_RISING;
  GPIO_InitStruct.Pull = GPIO_NOPULL;
  HAL_GPIO_Init(GPIOC, &GPIO_InitStruct);

  /*Configure GPIO pin : SPI1_CS_Pin */
  GPIO_InitStruct.Pin = SPI1_CS_Pin;
  GPIO_InitStruct.Mode = GPIO_MODE_OUTPUT_PP;
  GPIO_InitStruct.Pull = GPIO_PULLUP;
  GPIO_InitStruct.Speed = GPIO_SPEED_FREQ_LOW;
  HAL_GPIO_Init(SPI1_CS_GPIO_Port, &GPIO_InitStruct);

  /*Configure GPIO pins : PB0 PB1 PB10 PB11
                           PB15 LED1_Pin SPI3_CS_Pin */
  GPIO_InitStruct.Pin = GPIO_PIN_0|GPIO_PIN_1|GPIO_PIN_10|GPIO_PIN_11
                          |GPIO_PIN_15|LED1_Pin|SPI3_CS_Pin;
  GPIO_InitStruct.Mode = GPIO_MODE_OUTPUT_PP;
  GPIO_InitStruct.Pull = GPIO_NOPULL;
  GPIO_InitStruct.Speed = GPIO_SPEED_FREQ_LOW;
  HAL_GPIO_Init(GPIOB, &GPIO_InitStruct);

  /*Configure GPIO pin : SPI2_CS_Pin */
  GPIO_InitStruct.Pin = SPI2_CS_Pin;
  GPIO_InitStruct.Mode = GPIO_MODE_OUTPUT_PP;
  GPIO_InitStruct.Pull = GPIO_PULLUP;
  GPIO_InitStruct.Speed = GPIO_SPEED_FREQ_LOW;
  HAL_GPIO_Init(SPI2_CS_GPIO_Port, &GPIO_InitStruct);

  /*Configure GPIO pins : PA8 PA15 */
  GPIO_InitStruct.Pin = GPIO_PIN_8|GPIO_PIN_15;
  GPIO_InitStruct.Mode = GPIO_MODE_OUTPUT_PP;
  GPIO_InitStruct.Pull = GPIO_NOPULL;
  GPIO_InitStruct.Speed = GPIO_SPEED_FREQ_LOW;
  HAL_GPIO_Init(GPIOA, &GPIO_InitStruct);

}

void Error_Handler(void)
{
  __disable_irq();
  while (1)
  {
  }
}
